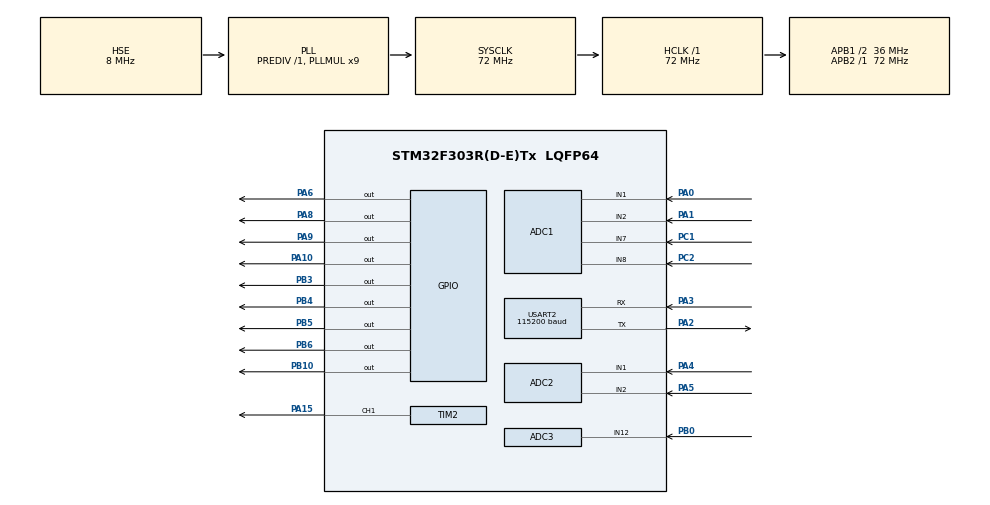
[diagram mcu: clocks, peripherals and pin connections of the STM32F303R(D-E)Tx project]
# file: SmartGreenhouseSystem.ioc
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ADC1.Channel-1\#ChannelRegularConversion=ADC_CHANNEL_1
ADC1.NbrOfConversionFlag=1
ADC1.Offset-1\#ChannelRegularConversion=0
ADC1.OffsetNumber-1\#ChannelRegularConversion=ADC_OFFSET_NONE
ADC1.Rank-1\#ChannelRegularConversion=1
ADC1.SamplingTime-1\#ChannelRegularConversion=ADC_SAMPLETIME_1CYCLE_5
ADC1.SingleDiff-1\#ChannelRegularConversion=ADC_DIFFERENTIAL_ENDED
ADC1.master=1
ADC2.Channel-0\#ChannelRegularConversion=ADC_CHANNEL_1
ADC2.NbrOfConversionFlag=1
ADC2.Offset-0\#ChannelRegularConversion=0
ADC2.OffsetNumber-0\#ChannelRegularConversion=ADC_OFFSET_NONE
ADC2.Rank-0\#ChannelRegularConversion=1
ADC2.SamplingTime-0\#ChannelRegularConversion=ADC_SAMPLETIME_1CYCLE_5
ADC2.SingleDiff-0\#ChannelRegularConversion=ADC_DIFFERENTIAL_ENDED
ADC3.Channel-0\#ChannelRegularConversion=ADC_CHANNEL_12
ADC3.NbrOfConversionFlag=1
ADC3.Offset-0\#ChannelRegularConversion=0
ADC3.OffsetNumber-0\#ChannelRegularConversion=ADC_OFFSET_NONE
ADC3.Rank-0\#ChannelRegularConversion=1
ADC3.SamplingTime-0\#ChannelRegularConversion=ADC_SAMPLETIME_1CYCLE_5
ADC3.SamplingTimeOPAMP-0\#ChannelRegularConversion=ADC_SAMPLETIME_61CYCLES_5
ADC3.master=1
Mcu.Family=STM32F3
Mcu.Name=STM32F303R(D-E)Tx
Mcu.Package=LQFP64
NVIC.PriorityGroup=NVIC_PRIORITYGROUP_4
PA0.Mode=IN1-Differential
PA0.Signal=ADC1_IN1
PA1.Mode=IN1-Differential
PA1.Signal=ADC1_IN2
PA10.Signal=GPIO_Output
PA15.Signal=S_TIM2_CH1_ETR
PA2.Mode=Asynchronous
PA2.Signal=USART2_TX
PA3.Mode=Asynchronous
PA3.Signal=USART2_RX
PA4.Mode=IN1-Differential
PA4.Signal=ADC2_IN1
PA5.Mode=IN1-Differential
PA5.Signal=ADC2_IN2
PA6.Signal=GPIO_Output
PA8.Signal=GPIO_Output
PA9.Signal=GPIO_Output
PB0.Mode=IN12-Single-Ended
PB0.Signal=ADC3_IN12
PB10.Signal=GPIO_Output
PB3.Signal=GPIO_Output
PB4.Signal=GPIO_Output
PB5.Signal=GPIO_Output
PB6.Signal=GPIO_Output
PC1.Signal=ADCx_IN7
PC2.Signal=ADCx_IN8
PF0-OSC_IN.Mode=HSE-External-Oscillator
PF0-OSC_IN.Signal=RCC_OSC_IN
PF1-OSC_OUT.Mode=HSE-External-Oscillator
PF1-OSC_OUT.Signal=RCC_OSC_OUT
ProjectManager.HeapSize=0x200
ProjectManager.StackSize=0x400
ProjectManager.TargetToolchain=STM32CubeIDE
RCC.AHBFreq_Value=72000000
RCC.APB1CLKDivider=RCC_HCLK_DIV2
RCC.APB1Freq_Value=36000000
RCC.APB1TimFreq_Value=72000000
RCC.APB2Freq_Value=72000000
RCC.APB2TimFreq_Value=72000000
RCC.CortexFreq_Value=72000000
RCC.HCLKFreq_Value=72000000
RCC.HSE_VALUE=8000000
RCC.HSI_VALUE=8000000
RCC.LSE_VALUE=32768
RCC.PLLMUL=RCC_PLL_MUL9
RCC.PLLSourceVirtual=RCC_PLLSOURCE_HSE
RCC.SYSCLKFreq_VALUE=72000000
RCC.SYSCLKSourceVirtual=RCC_SYSCLKSOURCE_PLLCLK
RCC.USBFreq_Value=72000000
SH.ADCx_IN7.0=ADC1_IN7,IN7-Differential
SH.ADCx_IN8.0=ADC1_IN8,IN7-Differential
SH.S_TIM2_CH1_ETR.0=TIM2_CH1,PWM Generation1 CH1
TIM2.AutoReloadPreload=TIM_AUTORELOAD_PRELOAD_ENABLE
TIM2.Channel-PWM\ Generation1\ CH1=TIM_CHANNEL_1
TIM2.Period=65535
USART2.BaudRate=115200
USART2.VirtualMode-Asynchronous=VM_ASYNC
VP_TIM2_VS_ClockSourceINT.Mode=Internal
board=custom

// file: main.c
/* USER CODE END Header */

#include "main.h"

/* USER CODE BEGIN Includes */

#include <stdio.h>
#include "../../ECUAL/LCD16X2/LCD16X2.h"

/* USER CODE END Includes */

/* USER CODE BEGIN PD */

#define DHT22_PORT GPIOA
#define DHT22_PIN GPIO_PIN_4
#define MyLCD LCD16X2_1

/* USER CODE END PD */

ADC_HandleTypeDef hadc1;
ADC_HandleTypeDef hadc2;
ADC_HandleTypeDef hadc3;

TIM_HandleTypeDef htim2;
UART_HandleTypeDef huart2;

/* USER CODE BEGIN PV */

int airQ_threshold=2978-693;
int temp_threshold=29;
int light_threshold=1200;

int airQ;
int temperature;
int hum1, hum2, temp1, temp2, sumMQ, checkMQ;
int temp_Celsius, temp_Fahrenheit, Humidity;
int ldr_val;

int pMillis, cMillis;

/* USER CODE END PV */

void SystemClock_Config(void);
static void MX_GPIO_Init(void);
static void MX_USART2_UART_Init(void);
static void MX_ADC1_Init(void);
static void MX_TIM2_Init(void);
static void MX_ADC2_Init(void);
static void MX_ADC3_Init(void);

/* USER CODE BEGIN PFP */

#define PUTCHAR_PROTOTYPE int __io_putchar(int ch)

/* USER CODE END PFP */

/* USER CODE BEGIN 0 */

// microsecond delay generate

void microDelay (uint16_t delay)
{
	__HAL_TIM_SET_COUNTER(&htim2, 0);
	while (__HAL_TIM_GET_COUNTER(&htim2) < delay);
}

void Set_Pin_Output (GPIO_TypeDef *GPIOx, uint16_t GPIO_Pin)
{
	GPIO_InitTypeDef GPIO_InitStruct = {0};
	GPIO_InitStruct.Pin = GPIO_Pin;
	GPIO_InitStruct.Mode = GPIO_MODE_OUTPUT_PP;
	GPIO_InitStruct.Speed = GPIO_SPEED_FREQ_HIGH; // Changed to HIGH for better signal edges
	GPIO_InitStruct.Pull = GPIO_NOPULL;
	HAL_GPIO_Init(GPIOx, &GPIO_InitStruct);
}

void Set_Pin_Input (GPIO_TypeDef *GPIOx, uint16_t GPIO_Pin)
{
	GPIO_InitTypeDef GPIO_InitStruct = {0};
	GPIO_InitStruct.Pin = GPIO_Pin;
	GPIO_InitStruct.Mode = GPIO_MODE_INPUT;
	GPIO_InitStruct.Pull = GPIO_PULLUP; // Enable internal pullup just in case
	HAL_GPIO_Init(GPIOx, &GPIO_InitStruct);
}

//DHT22 Start Signal

uint8_t DHT22_Start (void)
{
	uint8_t Response = 0;

	Set_Pin_Output(DHT22_PORT, DHT22_PIN);
	HAL_GPIO_WritePin (DHT22_PORT, DHT22_PIN, 0);

	HAL_Delay(18);

	HAL_GPIO_WritePin (DHT22_PORT, DHT22_PIN, 1);

	microDelay (30);

	Set_Pin_Input(DHT22_PORT, DHT22_PIN);

	microDelay (40);

	if (!(HAL_GPIO_ReadPin (DHT22_PORT, DHT22_PIN)))
	{
		microDelay (80);
		if ((HAL_GPIO_ReadPin (DHT22_PORT, DHT22_PIN))) Response = 1;
		else Response = -1;
	}

// Wait for the sensor to finish its response (High signal)

// We use a simple timeout loop instead of HAL_GetTick to be faster

	uint32_t timeout = 0;

	while ((HAL_GPIO_ReadPin (DHT22_PORT, DHT22_PIN)))
	{
		timeout++;
		if(timeout > 10000) break; // Prevent hanging
	}

	return Response;
}

// DHT22 Read Data

uint8_t DHT22_Read (void)
{
	uint8_t x,y = 0;
	for (x=0; x<8; x++)
	{
		uint32_t timeout = 0;

// when pin goes high - Start of bit transmission)

		while (!(HAL_GPIO_ReadPin (DHT22_PORT, DHT22_PIN)))
		{
			timeout++;
			if(timeout > 10000) return 0;
		}
		microDelay(40);

// If bit is 0, signal is high for 26us

// If bit is 1, signal is high for 70us

		if (!(HAL_GPIO_ReadPin (DHT22_PORT, DHT22_PIN)))
			y&= ~(1<<(7-x)); // bit 0
		else
			y|= (1<<(7-x)); // bit 1

// when  pin goes low- End of transmission

		timeout = 0;

		while ((HAL_GPIO_ReadPin (DHT22_PORT, DHT22_PIN)))
		{
			timeout++;
			if(timeout > 10000) return 0;
		}
	}
	return y;
}

/* USER CODE END 0 */

int main(void)
{

	/* MCU Configuration--------------------------------------------------------*/

	/* Reset of all peripherals, Initializes the Flash interface and the Systick. */

	HAL_Init();

	/* Configure the system clock */

	SystemClock_Config();

	/* Initialize all configured peripherals */

	MX_GPIO_Init();

	MX_USART2_UART_Init();

	MX_TIM2_Init();

	MX_ADC1_Init();
	MX_ADC2_Init();
	MX_ADC3_Init();

	/* USER CODE BEGIN 2 */

	HAL_TIM_Base_Start(&htim2);

//LCD

	LCD16X2_Init(MyLCD);
	LCD16X2_Clear(MyLCD);

	char lcd_buffer[32];

	char AirQ_string[30];
	sprintf(AirQ_string, "%d", airQ);

	char temperatureCelsius_string[30];
	sprintf(temperatureCelsius_string, "%d", temp_Celsius);

	char temperatureFahrenheit_string[30];
	sprintf(temperatureFahrenheit_string, "%d", temp_Fahrenheit);

	char humidity_string[30];
	sprintf(humidity_string, "%d", Humidity);

	char ldr_string[30];
	sprintf(ldr_string, "%d", ldr_val);

	LCD16X2_Set_Cursor(MyLCD, 1, 1);

	/* USER CODE END 2 */

	/* Infinite loop */

	/* USER CODE BEGIN WHILE */

	while (1)
	{
		HAL_ADC_Start(&hadc1);
		HAL_ADC_Start(&hadc3);

		DHT22_Start();

//MQ-135
		airQ = HAL_ADC_GetValue(&hadc1);

		if(airQ>airQ_threshold) {
			HAL_GPIO_WritePin(GPIOA, GPIO_PIN_10, GPIO_PIN_SET);
		}
		else {
			HAL_GPIO_WritePin(GPIOA, GPIO_PIN_10, GPIO_PIN_RESET);
		}
//DHT22

		hum1 = DHT22_Read();
		hum2 = DHT22_Read();
		temp1 = DHT22_Read();
		temp2 = DHT22_Read();
		sumMQ = DHT22_Read();
		checkMQ = hum1 + hum2 + temp1 + temp2;

		if (checkMQ == sumMQ)
		{
			if (temp1>127)
			{
				temp_Celsius = temp2/10*(-1);
			}
			else
			{
				temp_Celsius = ((temp1<<8)|temp2)/10;
			}

			temp_Fahrenheit = temp_Celsius * 9/5 + 32;

			if(temp_Celsius > temp_threshold) {
				HAL_GPIO_WritePin(GPIOA, GPIO_PIN_8, GPIO_PIN_SET);
			}
			else {
				HAL_GPIO_WritePin(GPIOA, GPIO_PIN_8, GPIO_PIN_RESET);
			}

			Humidity = (float) ((hum1<<8)|hum2)/10;
		}

//debug block- dht-22

 	uint8_t presence = DHT22_Start();

		if(presence == 1)
		{
// Sensor Responded! Now read.
			hum1 = DHT22_Read();
			hum2 = DHT22_Read();
			temp1 = DHT22_Read();
			temp2 = DHT22_Read();
			sumMQ = DHT22_Read();

// Calculate
			checkMQ = hum1 + hum2 + temp1 + temp2;

// Combine bytes

			Humidity = (float)((hum1<<8)|hum2)/10;
			if (temp1>127) temp_Celsius = temp2/10*(-1);
			else temp_Celsius = ((temp1<<8)|temp2)/10;

			printf("Sensor Status: OK | Hum: %d %% | Temp: %d C\r\n", Humidity, temp_Celsius);
		}

		else
		{
			printf("Sensor Status: ERROR. (Response: %d)\r\n", presence);
		}

		HAL_Delay(500); // Read every 2 seconds (DHT22 is slow)

//ldr

 	ldr_val = HAL_ADC_GetValue(&hadc3);

		if(ldr_val > light_threshold) {
			HAL_GPIO_WritePin(GPIOA, GPIO_PIN_9, GPIO_PIN_SET);
		}
		else {
			HAL_GPIO_WritePin(GPIOA, GPIO_PIN_9, GPIO_PIN_RESET);
		}

//print-serial monitor

		printf("Air Quality: %d\n\r", airQ-airQ_threshold);
		printf("Temperature: %d deg C | %d deg F\n\r", temp_Celsius, temp_Fahrenheit);
		printf("Humidity: %d %%\n\r", Humidity);
		printf("Light: %d \n\r", ldr_val-light_threshold);

//LCD

			  // Air and Temp printing
			  LCD16X2_Clear(MyLCD);

			  LCD16X2_Set_Cursor(MyLCD, 1, 1);
			  sprintf(lcd_buffer, "Air Q: %d", airQ-airQ_threshold);
			  LCD16X2_Write_String(MyLCD, lcd_buffer);

			  LCD16X2_Set_Cursor(MyLCD, 2, 1);
			  sprintf(lcd_buffer, "Temp: %d C", temp_Celsius);
			  LCD16X2_Write_String(MyLCD, lcd_buffer);

			  HAL_Delay(1500);

			  // Humidity and Light print
			  LCD16X2_Clear(MyLCD);

			  LCD16X2_Set_Cursor(MyLCD, 1, 1);
			  sprintf(lcd_buffer, "Hum: %d %%", Humidity);
			  LCD16X2_Write_String(MyLCD, lcd_buffer);

			  LCD16X2_Set_Cursor(MyLCD, 2, 1);
			  sprintf(lcd_buffer, "Light: %d ", ldr_val-light_threshold);
			  LCD16X2_Write_String(MyLCD, lcd_buffer);

			  HAL_Delay(1500);

		/* USER CODE END WHILE */

	}
}

void SystemClock_Config(void)
{
	RCC_OscInitTypeDef RCC_OscInitStruct = {0};
	RCC_ClkInitTypeDef RCC_ClkInitStruct = {0};
	RCC_PeriphCLKInitTypeDef PeriphClkInit = {0};

	/** Initializes the RCC Oscillators according to the specified parameters

	* in the RCC_OscInitTypeDef structure.

	*/
	RCC_OscInitStruct.OscillatorType = RCC_OSCILLATORTYPE_HSE;
	RCC_OscInitStruct.HSEState = RCC_HSE_ON;
	RCC_OscInitStruct.HSIState = RCC_HSI_ON;
	RCC_OscInitStruct.PLL.PLLState = RCC_PLL_ON;
	RCC_OscInitStruct.PLL.PLLSource = RCC_PLLSOURCE_HSE;
	RCC_OscInitStruct.PLL.PLLMUL = RCC_PLL_MUL9;
	RCC_OscInitStruct.PLL.PREDIV = RCC_PREDIV_DIV1;

	if (HAL_RCC_OscConfig(&RCC_OscInitStruct) != HAL_OK)
	{
		Error_Handler();
	}

	/** Initializes the CPU, AHB and APB buses clocks
	*/

	RCC_ClkInitStruct.ClockType = RCC_CLOCKTYPE_HCLK|RCC_CLOCKTYPE_SYSCLK

	                              |RCC_CLOCKTYPE_PCLK1|RCC_CLOCKTYPE_PCLK2;
	RCC_ClkInitStruct.SYSCLKSource = RCC_SYSCLKSOURCE_PLLCLK;
	RCC_ClkInitStruct.AHBCLKDivider = RCC_SYSCLK_DIV1;
	RCC_ClkInitStruct.APB1CLKDivider = RCC_HCLK_DIV2;
	RCC_ClkInitStruct.APB2CLKDivider = RCC_HCLK_DIV1;

	if (HAL_RCC_ClockConfig(&RCC_ClkInitStruct, FLASH_LATENCY_2) != HAL_OK)
	{
		Error_Handler();
	}

	PeriphClkInit.PeriphClockSelection = RCC_PERIPHCLK_USART2|RCC_PERIPHCLK_ADC12

	                                     |RCC_PERIPHCLK_ADC34|RCC_PERIPHCLK_TIM2;
	PeriphClkInit.Usart2ClockSelection = RCC_USART2CLKSOURCE_PCLK1;
	PeriphClkInit.Adc12ClockSelection = RCC_ADC12PLLCLK_DIV1;
	PeriphClkInit.Adc34ClockSelection = RCC_ADC34PLLCLK_DIV1;
	PeriphClkInit.Tim2ClockSelection = RCC_TIM2CLK_HCLK;
	if (HAL_RCCEx_PeriphCLKConfig(&PeriphClkInit) != HAL_OK)
	{
		Error_Handler();
	}

}

static void MX_ADC1_Init(void)
{

	ADC_MultiModeTypeDef multimode = {0};
	ADC_ChannelConfTypeDef sConfig = {0};

	/** Common config

	*/

	hadc1.Instance = ADC1;
	hadc1.Init.ClockPrescaler = ADC_CLOCK_ASYNC_DIV1;
	hadc1.Init.Resolution = ADC_RESOLUTION_12B;
	hadc1.Init.ScanConvMode = ADC_SCAN_DISABLE;
	hadc1.Init.ContinuousConvMode = DISABLE;
	hadc1.Init.DiscontinuousConvMode = DISABLE;
	hadc1.Init.ExternalTrigConvEdge = ADC_EXTERNALTRIGCONVEDGE_NONE;
	hadc1.Init.ExternalTrigConv = ADC_SOFTWARE_START;
	hadc1.Init.DataAlign = ADC_DATAALIGN_RIGHT;
	hadc1.Init.NbrOfConversion = 1;
	hadc1.Init.DMAContinuousRequests = DISABLE;

	hadc1.Init.EOCSelection = ADC_EOC_SINGLE_CONV;
	hadc1.Init.LowPowerAutoWait = DISABLE;
	hadc1.Init.Overrun = ADC_OVR_DATA_OVERWRITTEN;

	if (HAL_ADC_Init(&hadc1) != HAL_OK)
	{
		Error_Handler();
	}

	/** Configure the ADC multi-mode
	*/

	multimode.Mode = ADC_MODE_INDEPENDENT;
	if (HAL_ADCEx_MultiModeConfigChannel(&hadc1, &multimode) != HAL_OK)
	{
		Error_Handler();
	}

	/** Configure Regular Channel

	*/

	sConfig.Channel = ADC_CHANNEL_1;
	sConfig.Rank = ADC_REGULAR_RANK_1;
	sConfig.SingleDiff = ADC_DIFFERENTIAL_ENDED;
	sConfig.SamplingTime = ADC_SAMPLETIME_1CYCLE_5;
	sConfig.OffsetNumber = ADC_OFFSET_NONE;
	sConfig.Offset = 0;

	if (HAL_ADC_ConfigChannel(&hadc1, &sConfig) != HAL_OK)
	{
		Error_Handler();
	}

}

static void MX_ADC2_Init(void)
{

	ADC_ChannelConfTypeDef sConfig = {0};

	/** Common config

	*/

	hadc2.Instance = ADC2;
	hadc2.Init.ClockPrescaler = ADC_CLOCK_ASYNC_DIV1;
	hadc2.Init.Resolution = ADC_RESOLUTION_12B;
	hadc2.Init.ScanConvMode = ADC_SCAN_DISABLE;
	hadc2.Init.ContinuousConvMode = DISABLE;
	hadc2.Init.DiscontinuousConvMode = DISABLE;
	hadc2.Init.ExternalTrigConvEdge = ADC_EXTERNALTRIGCONVEDGE_NONE;
	hadc2.Init.ExternalTrigConv = ADC_SOFTWARE_START;
	hadc2.Init.DataAlign = ADC_DATAALIGN_RIGHT;
	hadc2.Init.NbrOfConversion = 1;
	hadc2.Init.DMAContinuousRequests = DISABLE;
	hadc2.Init.EOCSelection = ADC_EOC_SINGLE_CONV;
	hadc2.Init.LowPowerAutoWait = DISABLE;
	hadc2.Init.Overrun = ADC_OVR_DATA_OVERWRITTEN;

	if (HAL_ADC_Init(&hadc2) != HAL_OK)
	{
		Error_Handler();
	}

	/** Configure Regular Channel

	*/

	sConfig.Channel = ADC_CHANNEL_1;
	sConfig.Rank = ADC_REGULAR_RANK_1;
	sConfig.SingleDiff = ADC_DIFFERENTIAL_ENDED;
	sConfig.SamplingTime = ADC_SAMPLETIME_1CYCLE_5;
	sConfig.OffsetNumber = ADC_OFFSET_NONE;
	sConfig.Offset = 0;

	if (HAL_ADC_ConfigChannel(&hadc2, &sConfig) != HAL_OK)
	{
		Error_Handler();
	}

}

static void MX_ADC3_Init(void)
{

	ADC_MultiModeTypeDef multimode = {0};
	ADC_ChannelConfTypeDef sConfig = {0};

	/** Common config

	*/

	hadc3.Instance = ADC3;
	hadc3.Init.ClockPrescaler = ADC_CLOCK_ASYNC_DIV1;
	hadc3.Init.Resolution = ADC_RESOLUTION_12B;
	hadc3.Init.ScanConvMode = ADC_SCAN_DISABLE;
	hadc3.Init.ContinuousConvMode = DISABLE;
	hadc3.Init.DiscontinuousConvMode = DISABLE;
	hadc3.Init.ExternalTrigConvEdge = ADC_EXTERNALTRIGCONVEDGE_NONE;
	hadc3.Init.ExternalTrigConv = ADC_SOFTWARE_START;
	hadc3.Init.DataAlign = ADC_DATAALIGN_RIGHT;
	hadc3.Init.NbrOfConversion = 1;
	hadc3.Init.DMAContinuousRequests = DISABLE;
	hadc3.Init.EOCSelection = ADC_EOC_SINGLE_CONV;
	hadc3.Init.LowPowerAutoWait = DISABLE;
	hadc3.Init.Overrun = ADC_OVR_DATA_OVERWRITTEN;

	if (HAL_ADC_Init(&hadc3) != HAL_OK)
	{
		Error_Handler();
	}

	/** Configure the ADC multi-mode

	*/

	multimode.Mode = ADC_MODE_INDEPENDENT;

	if (HAL_ADCEx_MultiModeConfigChannel(&hadc3, &multimode) != HAL_OK)
	{
		Error_Handler();
	}

	/** Configure Regular Channel

	*/

	sConfig.Channel = ADC_CHANNEL_12;
	sConfig.Rank = ADC_REGULAR_RANK_1;
	sConfig.SingleDiff = ADC_SINGLE_ENDED;
	sConfig.SamplingTime = ADC_SAMPLETIME_1CYCLE_5;
	sConfig.OffsetNumber = ADC_OFFSET_NONE;
	sConfig.Offset = 0;

	if (HAL_ADC_ConfigChannel(&hadc3, &sConfig) != HAL_OK)
	{
		Error_Handler();
	}

}

static void MX_TIM2_Init(void)

{

	TIM_ClockConfigTypeDef sClockSourceConfig = {0};
	TIM_MasterConfigTypeDef sMasterConfig = {0};
	TIM_OC_InitTypeDef sConfigOC = {0};

	htim2.Instance = TIM2;
	htim2.Init.Prescaler = 71;
	htim2.Init.CounterMode = TIM_COUNTERMODE_UP;
	htim2.Init.Period = 65535;
	htim2.Init.ClockDivision = TIM_CLOCKDIVISION_DIV1;
	htim2.Init.AutoReloadPreload = TIM_AUTORELOAD_PRELOAD_ENABLE;

	if (HAL_TIM_Base_Init(&htim2) != HAL_OK)
	{
		Error_Handler();
	}

	sClockSourceConfig.ClockSource = TIM_CLOCKSOURCE_INTERNAL;

	if (HAL_TIM_ConfigClockSource(&htim2, &sClockSourceConfig) != HAL_OK)
	{
		Error_Handler();
	}

	if (HAL_TIM_PWM_Init(&htim2) != HAL_OK)
	{
		Error_Handler();
	}

	sMasterConfig.MasterOutputTrigger = TIM_TRGO_RESET;
	sMasterConfig.MasterSlaveMode = TIM_MASTERSLAVEMODE_DISABLE;

	if (HAL_TIMEx_MasterConfigSynchronization(&htim2, &sMasterConfig) != HAL_OK)
	{
		Error_Handler();
	}

	sConfigOC.OCMode = TIM_OCMODE_PWM1;
	sConfigOC.Pulse = 0;
	sConfigOC.OCPolarity = TIM_OCPOLARITY_HIGH;
	sConfigOC.OCFastMode = TIM_OCFAST_DISABLE;

	if (HAL_TIM_PWM_ConfigChannel(&htim2, &sConfigOC, TIM_CHANNEL_1) != HAL_OK)
	{
		Error_Handler();
	}

	HAL_TIM_MspPostInit(&htim2);

}

static void MX_USART2_UART_Init(void)
{

	huart2.Instance = USART2;
	huart2.Init.BaudRate = 115200;
	huart2.Init.WordLength = UART_WORDLENGTH_8B;
	huart2.Init.StopBits = UART_STOPBITS_1;
	huart2.Init.Parity = UART_PARITY_NONE;
	huart2.Init.Mode = UART_MODE_TX_RX;
	huart2.Init.HwFlowCtl = UART_HWCONTROL_NONE;
	huart2.Init.OverSampling = UART_OVERSAMPLING_16;
	huart2.Init.OneBitSampling = UART_ONE_BIT_SAMPLE_DISABLE;
	huart2.AdvancedInit.AdvFeatureInit = UART_ADVFEATURE_NO_INIT;

	if (HAL_UART_Init(&huart2) != HAL_OK)
	{
		Error_Handler();
	}

}

static void MX_GPIO_Init(void)

{

	GPIO_InitTypeDef GPIO_InitStruct = {0};

	/* GPIO Ports Clock Enable */

	__HAL_RCC_GPIOF_CLK_ENABLE();

	__HAL_RCC_GPIOC_CLK_ENABLE();

	__HAL_RCC_GPIOA_CLK_ENABLE();

	__HAL_RCC_GPIOB_CLK_ENABLE();

	/*Configure GPIO pin Output Level */

	HAL_GPIO_WritePin(GPIOA, GPIO_PIN_6|GPIO_PIN_8|GPIO_PIN_9|GPIO_PIN_10, GPIO_PIN_RESET);

	/*Configure GPIO pin Output Level */

	HAL_GPIO_WritePin(GPIOB, GPIO_PIN_10|GPIO_PIN_3|GPIO_PIN_4|GPIO_PIN_5

	                  |GPIO_PIN_6, GPIO_PIN_RESET);

	/*Configure GPIO pins : PA6 PA8 PA9 PA10 */

	GPIO_InitStruct.Pin = GPIO_PIN_6|GPIO_PIN_8|GPIO_PIN_9|GPIO_PIN_10;
	GPIO_InitStruct.Mode = GPIO_MODE_OUTPUT_PP;
	GPIO_InitStruct.Pull = GPIO_NOPULL;
	GPIO_InitStruct.Speed = GPIO_SPEED_FREQ_LOW;
	HAL_GPIO_Init(GPIOA, &GPIO_InitStruct);

	/*Configure GPIO pins : PB10 PB3 PB4 PB5
	PB6 */

	GPIO_InitStruct.Pin = GPIO_PIN_10|GPIO_PIN_3|GPIO_PIN_4|GPIO_PIN_5

	                      |GPIO_PIN_6;

	GPIO_InitStruct.Mode = GPIO_MODE_OUTPUT_PP;
	GPIO_InitStruct.Pull = GPIO_NOPULL;
	GPIO_InitStruct.Speed = GPIO_SPEED_FREQ_LOW;
	HAL_GPIO_Init(GPIOB, &GPIO_InitStruct);

}

/* USER CODE BEGIN 4 */

PUTCHAR_PROTOTYPE

{	HAL_UART_Transmit(&huart2, (uint8_t *)&ch, 1, 0xFFFF);
	return ch;
}

/* USER CODE END 4 */

void Error_Handler(void)
{
	/* USER CODE BEGIN Error_Handler_Debug */
	/* User can add his own implementation to report the HAL error return state */
	__disable_irq();

	while (1)	{	}
	/* USER CODE END Error_Handler_Debug */
}
